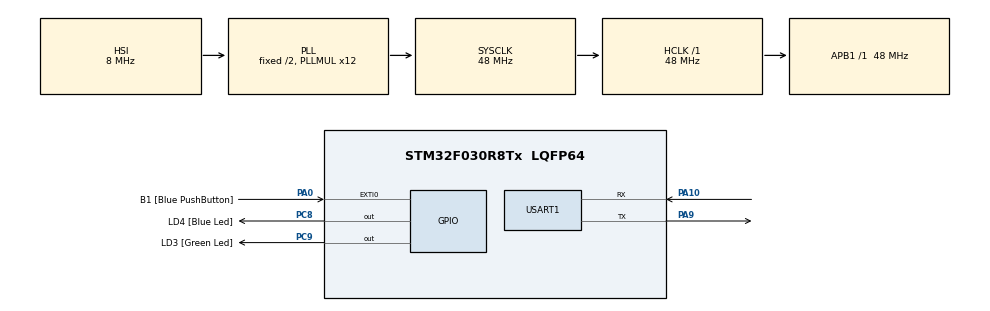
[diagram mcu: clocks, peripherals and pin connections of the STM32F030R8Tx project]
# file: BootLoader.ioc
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Mcu.Family=STM32F0
PA10.Mode=Asynchronous
PC9.GPIO_Label=LD3 [Green Led]
PA14.GPIO_Label=SWCLK
PA0.GPIO_Label=B1 [Blue PushButton]
PC8.Signal=GPIO_Output
RCC.SYSCLKSource=RCC_SYSCLKSOURCE_PLLCLK
ProjectManager.StackSize=0x400
PC8.GPIO_Label=LD4 [Blue Led]
USART1.VirtualMode-Asynchronous=VM_ASYNC
PA13.Signal=SYS_SWDIO
PA9.Mode=Asynchronous
ProjectManager.TargetToolchain=STM32CubeIDE
RCC.HCLKFreq_Value=48000000
PA9.Signal=USART1_TX
RCC.AHBFreq_Value=48000000
board=STM32F0308-DISCO
RCC.PLLMUL=RCC_PLL_MUL12
PA14.Mode=Serial_Wire
PA0.GPIO_ModeDefaultEXTI=GPIO_MODE_EVT_RISING
PA13.Mode=Serial_Wire
Mcu.Name=STM32F030R8Tx
PA13.GPIO_Label=SWDIO
PA0.Signal=GPXTI0
RCC.SYSCLKFreq_VALUE=48000000
Mcu.Package=LQFP64
PA10.Signal=USART1_RX
PA14.Signal=SYS_SWCLK
ProjectManager.HeapSize=0x200
RCC.APB1TimFreq_Value=48000000
PC9.Signal=GPIO_Output
RCC.APB1Freq_Value=48000000

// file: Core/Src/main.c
/* USER CODE BEGIN Header */
/**
  ******************************************************************************
  * @file           : main.c
  * @brief          : Main program body
  ******************************************************************************
  * @attention
  *
  * <h2><center>&copy; Copyright (c) 2022 STMicroelectronics.
  * All rights reserved.</center></h2>
  *
  * This software component is licensed by ST under BSD 3-Clause license,
  * the "License"; You may not use this file except in compliance with the
  * License. You may obtain a copy of the License at:
  *                        opensource.org/licenses/BSD-3-Clause
  *
  ******************************************************************************
  */
/* USER CODE END Header */
#include "main.h"

/* USER CODE BEGIN Includes */
#include <stdio.h>
/* USER CODE END Includes */

/* USER CODE BEGIN PM */
#define	MAJOR 0
#define MINOR 1
/* USER CODE END PM */

UART_HandleTypeDef huart1;

/* USER CODE BEGIN PV */
uint8_t version[] = {MAJOR, MINOR};
/* USER CODE END PV */

void SystemClock_Config(void);
static void MX_GPIO_Init(void);
static void MX_USART1_UART_Init(void);
/* USER CODE BEGIN PFP */
static void got_application();
/* USER CODE END PFP */

/* USER CODE BEGIN 0 */
#ifdef __GNUC__

int __io_putchar(int ch)
{
	HAL_UART_Transmit(&huart1, (uint8_t *)&ch, 1, HAL_MAX_DELAY);
}
#endif
/* USER CODE END 0 */

int main(void)
{

  /* MCU Configuration--------------------------------------------------------*/

  /* Reset of all peripherals, Initializes the Flash interface and the Systick. */
  HAL_Init();

  /* Configure the system clock */
  SystemClock_Config();

  /* Initialize all configured peripherals */
  MX_GPIO_Init();
  MX_USART1_UART_Init();
  /* USER CODE BEGIN 2 */
  printf("starting bootloader version:%d,%d\n",version[0],version[1]);
  HAL_Delay(2000);
  HAL_GPIO_WritePin(GPIOC, GPIO_PIN_8, GPIO_PIN_SET);
  /* USER CODE END 2 */

  /* Infinite loop */
  while (1)
  {

  }
}

void SystemClock_Config(void)
{
  RCC_OscInitTypeDef RCC_OscInitStruct = {0};
  RCC_ClkInitTypeDef RCC_ClkInitStruct = {0};
  RCC_PeriphCLKInitTypeDef PeriphClkInit = {0};

  /** Initializes the RCC Oscillators according to the specified parameters
  * in the RCC_OscInitTypeDef structure.
  */
  RCC_OscInitStruct.OscillatorType = RCC_OSCILLATORTYPE_HSI;
  RCC_OscInitStruct.HSIState = RCC_HSI_ON;
  RCC_OscInitStruct.HSICalibrationValue = RCC_HSICALIBRATION_DEFAULT;
  RCC_OscInitStruct.PLL.PLLState = RCC_PLL_ON;
  RCC_OscInitStruct.PLL.PLLSource = RCC_PLLSOURCE_HSI;
  RCC_OscInitStruct.PLL.PLLMUL = RCC_PLL_MUL12;
  RCC_OscInitStruct.PLL.PREDIV = RCC_PREDIV_DIV1;
  if (HAL_RCC_OscConfig(&RCC_OscInitStruct) != HAL_OK)
  {
    Error_Handler();
  }
  /** Initializes the CPU, AHB and APB buses clocks
  */
  RCC_ClkInitStruct.ClockType = RCC_CLOCKTYPE_HCLK|RCC_CLOCKTYPE_SYSCLK
                              |RCC_CLOCKTYPE_PCLK1;
  RCC_ClkInitStruct.SYSCLKSource = RCC_SYSCLKSOURCE_PLLCLK;
  RCC_ClkInitStruct.AHBCLKDivider = RCC_SYSCLK_DIV1;
  RCC_ClkInitStruct.APB1CLKDivider = RCC_HCLK_DIV1;

  if (HAL_RCC_ClockConfig(&RCC_ClkInitStruct, FLASH_LATENCY_1) != HAL_OK)
  {
    Error_Handler();
  }
  PeriphClkInit.PeriphClockSelection = RCC_PERIPHCLK_USART1;
  PeriphClkInit.Usart1ClockSelection = RCC_USART1CLKSOURCE_PCLK1;
  if (HAL_RCCEx_PeriphCLKConfig(&PeriphClkInit) != HAL_OK)
  {
    Error_Handler();
  }
}

static void MX_USART1_UART_Init(void)
{

  huart1.Instance = USART1;
  huart1.Init.BaudRate = 38400;
  huart1.Init.WordLength = UART_WORDLENGTH_8B;
  huart1.Init.StopBits = UART_STOPBITS_1;
  huart1.Init.Parity = UART_PARITY_NONE;
  huart1.Init.Mode = UART_MODE_TX_RX;
  huart1.Init.HwFlowCtl = UART_HWCONTROL_NONE;
  huart1.Init.OverSampling = UART_OVERSAMPLING_16;
  huart1.Init.OneBitSampling = UART_ONE_BIT_SAMPLE_DISABLE;
  huart1.AdvancedInit.AdvFeatureInit = UART_ADVFEATURE_NO_INIT;
  if (HAL_UART_Init(&huart1) != HAL_OK)
  {
    Error_Handler();
  }

}

static void MX_GPIO_Init(void)
{
  GPIO_InitTypeDef GPIO_InitStruct = {0};

  /* GPIO Ports Clock Enable */
  __HAL_RCC_GPIOA_CLK_ENABLE();
  __HAL_RCC_GPIOC_CLK_ENABLE();

  /*Configure GPIO pin Output Level */
  HAL_GPIO_WritePin(GPIOC, LD4_Pin|LD3_Pin, GPIO_PIN_RESET);

  /*Configure GPIO pin : B1_Pin */
  GPIO_InitStruct.Pin = B1_Pin;
  GPIO_InitStruct.Mode = GPIO_MODE_EVT_RISING;
  GPIO_InitStruct.Pull = GPIO_NOPULL;
  HAL_GPIO_Init(B1_GPIO_Port, &GPIO_InitStruct);

  /*Configure GPIO pins : LD4_Pin LD3_Pin */
  GPIO_InitStruct.Pin = LD4_Pin|LD3_Pin;
  GPIO_InitStruct.Mode = GPIO_MODE_OUTPUT_PP;
  GPIO_InitStruct.Pull = GPIO_NOPULL;
  GPIO_InitStruct.Speed = GPIO_SPEED_FREQ_LOW;
  HAL_GPIO_Init(GPIOC, &GPIO_InitStruct);

}

/* USER CODE BEGIN 4 */
static void got_application()
{
	printf("gonna jump to application\n");
	void (*app_reset_handler)() = (void *)(*(volatile uint32_t *)0x08040000+4);
	HAL_GPIO_WritePin(GPIOC, GPIO_PIN_8, GPIO_PIN_RESET);
	app_reset_handler();
}
/* USER CODE END 4 */

void Error_Handler(void)
{
  __disable_irq();
  while (1)
  {
  }
}

/************************ (C) COPYRIGHT STMicroelectronics *****END OF FILE****/
